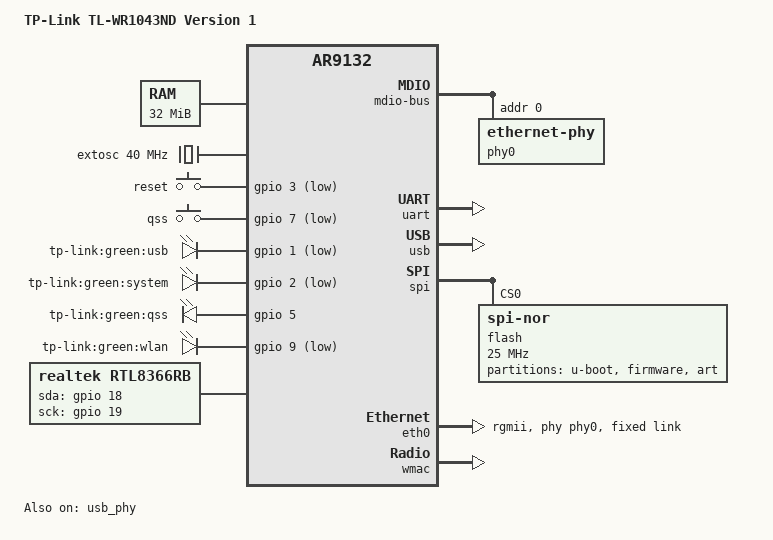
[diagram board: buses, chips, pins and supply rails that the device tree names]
// SPDX-License-Identifier: GPL-2.0
/dts-v1/;

#include <dt-bindings/gpio/gpio.h>
#include <dt-bindings/input/input.h>

#include "ar9132.dtsi"

/ {
	compatible = "tplink,tl-wr1043nd-v1", "qca,ar9132";
	model = "TP-Link TL-WR1043ND Version 1";

	aliases {
		led-status = &system;
	};

	memory@0 {
		device_type = "memory";
		reg = <0x0 0x2000000>;
	};

	extosc: ref {
		compatible = "fixed-clock";
		#clock-cells = <0>;
		clock-frequency = <40000000>;
	};

	keys {
		compatible = "gpio-keys";
		#address-cells = <1>;
		#size-cells = <0>;

		button0 {
			label = "reset";
			linux,code = <KEY_RESTART>;
			gpios = <&gpio 3 GPIO_ACTIVE_LOW>;
			debounce-interval = <60>;
		};

		button1 {
			label = "qss";
			linux,code = <KEY_WPS_BUTTON>;
			gpios = <&gpio 7 GPIO_ACTIVE_LOW>;
			debounce-interval = <60>;
		};
	};

	leds {
		compatible = "gpio-leds";
		usb {
			label = "tp-link:green:usb";
			gpios = <&gpio 1 GPIO_ACTIVE_LOW>;
			default-state = "off";
			trigger-sources = <&hub_port>;
			linux,default-trigger = "usbport";
		};

		system: system {
			label = "tp-link:green:system";
			gpios = <&gpio 2 GPIO_ACTIVE_LOW>;
			linux,default-trigger = "heartbeat";
		};

		qss {
			label = "tp-link:green:qss";
			gpios = <&gpio 5 GPIO_ACTIVE_HIGH>;
		};

		wlan {
			label = "tp-link:green:wlan";
			gpios = <&gpio 9 GPIO_ACTIVE_LOW>;
			default-state = "off";
			linux,default-trigger = "phy0tpt";
		};
	};

	rtl8366rb {
		compatible = "realtek,rtl8366rb";
		gpio-sda = <&gpio 18 GPIO_ACTIVE_HIGH>;
		gpio-sck = <&gpio 19 GPIO_ACTIVE_HIGH>;

		resets = <&rst 8>;
		reset-names = "switch";

		mdio-bus {
			status = "okay";

			phy0: ethernet-phy@0 {
				reg = <0>;
			};
		};
        };

};

&uart {
	status = "okay";
};

&pll {
	clocks = <&extosc>;
};

&usb {
	status = "okay";

	port@1 {
		reg = <1>;
		#trigger-source-cells = <0>;

		hub_port: port@1 {
			reg = <1>;
			#trigger-source-cells = <0>;
		};
	};
};

&usb_phy {
	status = "okay";
};

&spi {
	status = "okay";
	num-cs = <1>;

	flash@0 {
		#address-cells = <1>;
		#size-cells = <1>;
		compatible = "jedec,spi-nor";
		reg = <0>;
		spi-max-frequency = <25000000>;

		partitions {
			compatible = "fixed-partitions";
			#address-cells = <1>;
			#size-cells = <1>;

			uboot: partition@0 {
				label = "u-boot";
				reg = <0x000000 0x020000>;
				read-only;
			};

			partition@020000 {
				label = "firmware";
				reg = <0x020000 0x7D0000>;
			};

			art: partition@7F0000 {
				label = "art";
				reg = <0x7F0000 0x010000>;
				read-only;
			};
		};
	};
};

&eth0 {
	status = "okay";

	phy-mode = "rgmii";
	mtd-mac-address = <&uboot 0x1fc00>;

	resets = <&rst 9>;
	reset-names = "mac";

	phy-handle = <&phy0>;
	fixed-link {
		speed = <1000>;
		full-duplex;
	};
};

&wmac {
	status = "okay";
	mtd-cal-data = <&art 0x1000>;
	mtd-mac-address = <&uboot 0x1fc00>;
};
